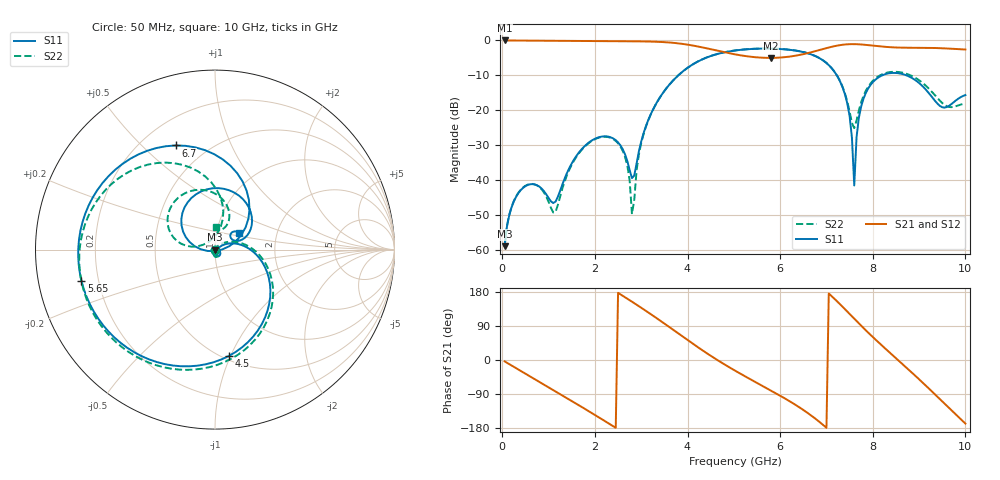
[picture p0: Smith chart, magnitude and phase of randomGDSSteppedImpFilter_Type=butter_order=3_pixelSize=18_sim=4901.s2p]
! freq	dB(S11)	phase(S11)	dB(S12)	phase(S12)
!  dB(S21)	phase(S21)	dB(S22)	phase(S22)
!S-par simulation data
#  GHz  S  DB  R 50
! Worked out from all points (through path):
!   200 points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, 50 MHz to 10 GHz, reference 50 ohm
!   highest |S21| = -0.01 dB at 50 MHz (marker M1); lowest = -5.0 dB at 5.8 GHz (marker M2)
!   group delay of S21, straight-line fit = 240 ps
!   lowest |S11| = -58.9 dB at 50 MHz (marker M3), VSWR 1.00, Z = 50.1 - j0.101 ohm
!   |S11| at or under -10 dB: start of sweep to 3.799 GHz; 7.223 GHz to 8.201 GHz (978.1 MHz wide, 12.7 % of centre); 8.727 GHz to end of sweep
!   |S22| runs from -58.7 to -2.3 dB; largest |S21 - S12| = 0
!   S11 on the Smith chart (normalised r, x): 50 MHz: 1.00, -0.00; 4.5 GHz: 0.53, -0.98; 5.65 GHz: 0.14, -0.11; 6.7 GHz: 0.34, +0.64; 10 GHz: 1.29, +0.25
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0.05  -58.86 -61.9  -0.01 -3.6  -0.01 -3.6  -58.75 -60.4
0.4  -42.80 -119.2  -0.04 -28.7  -0.04 -28.7  -42.68 -109.3
1.15  -46.11 90.5  -0.10 -82.6  -0.10 -82.6  -49.08 -73.2
1.75  -30.62 -20.5  -0.16 -126.5  -0.16 -126.5  -30.79 -47.4
2.5  -29.17 -76.6  -0.23 177.2  -0.23 177.2  -29.42 -99.3
2.7  -34.54 -75.8  -0.24 161.7  -0.24 161.7  -35.82 -116.8
2.8  -39.39 -39.7  -0.25 153.9  -0.25 153.9  -49.68 -156.8
3  -28.91 30.1  -0.28 137.9  -0.28 137.9  -29.36 47.7
3.4  -16.38 9.4  -0.42 104.7  -0.42 104.7  -16.40 13.7
4.5  -4.47 -82.7  -2.51 11.1  -2.51 11.1  -4.45 -77.6
5.05  -2.84 -124.6  -4.04 -29.8  -4.04 -29.8  -2.82 -117.1
5.65  -2.34 -166.8  -4.97 -70.4  -4.97 -70.4  -2.31 -155.7
5.8  -2.35 -177.4  -5.00 -80.4  -5.00 -80.4  -2.32 -165.2
6.7  -4.15 110.7  -3.28 -149.2  -3.28 -149.2  -4.12 132.3
7.4  -15.47 29.2  -1.16 133.9  -1.16 133.9  -15.19 75.6
7.55  -27.83 1.2  -1.06 115.1  -1.06 115.1  -23.61 97.4
7.6  -41.49 -90.2  -1.06 108.9  -1.06 108.9  -25.08 130.2
7.65  -27.64 -169.6  -1.08 102.6  -1.08 102.6  -22.90 158.0
7.8  -16.66 163.5  -1.21 84.2  -1.21 84.2  -15.84 172.4
8.35  -9.41 97.9  -1.91 21.4  -1.91 21.4  -9.11 130.0
9.25  -15.71 20.4  -2.13 -79.8  -2.13 -79.8  -14.33 65.6
10  -15.63 34.5  -2.60 -167.8  -2.60 -167.8  -18.04 87.2
